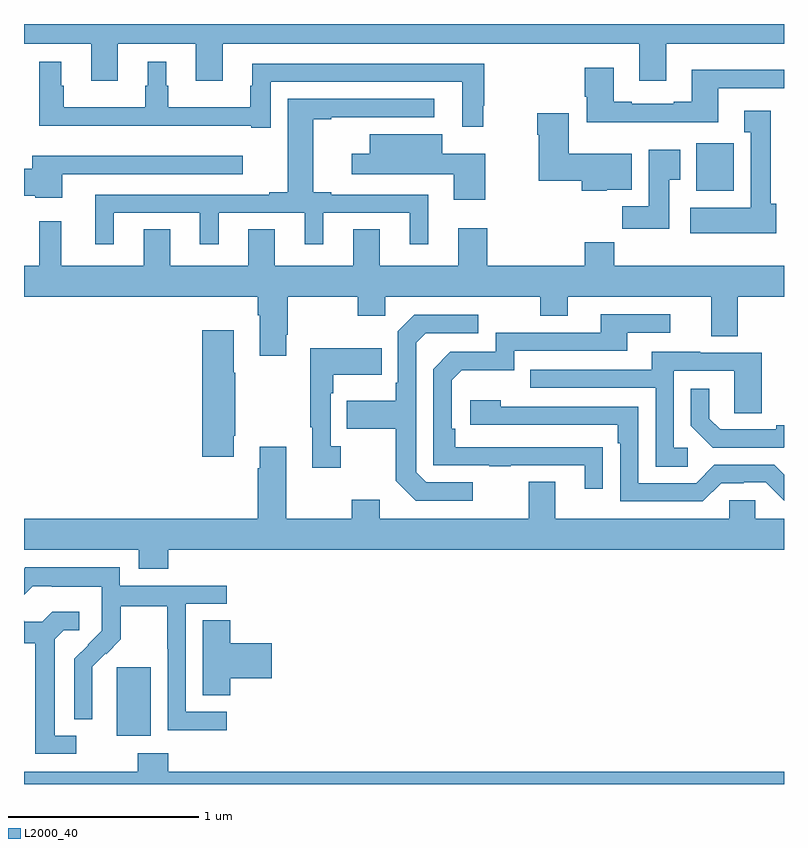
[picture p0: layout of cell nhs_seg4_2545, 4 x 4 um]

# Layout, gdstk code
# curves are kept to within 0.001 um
import gdstk
lib = gdstk.Library(unit=1e-6, precision=1e-09)
def R(c, l, rs):  # rectangles x0, y0, x1, y1
    for r in rs: c.add(gdstk.rectangle(r[:2], r[2:], *l))
def P(c, l, *ps):  # polygons
    for p in ps: c.add(gdstk.Polygon(p, *l))
L2000_40 = (2000, 40)

nhs_seg4_2545 = lib.new_cell('nhs_seg4_2545')
R(nhs_seg4_2545, L2000_40, [(243.488,817.154,243.667,817.515), (246.539,820.022,246.735,820.273)])
P(nhs_seg4_2545, L2000_40, [(243.493,820.796),(243.905,820.796),(243.905,820.602),(244.045,820.602),(244.045,820.796),(246.239,820.796),(246.239,820.602),(246.379,820.602),(246.379,820.796),(247,820.796),(247,820.9),(243,820.9),(243,820.796),(243.353,820.796),(243.353,820.602),(243.493,820.602)],
  [(244.299,820.596),(245.306,820.596),(245.306,820.359),(245.416,820.359),(245.416,820.471),(245.423,820.471),(245.423,820.692),(244.202,820.692),(244.202,820.574),(244.191,820.574),(244.191,820.462),(243.76,820.462),(243.76,820.574),(243.748,820.574),(243.748,820.702),(243.65,820.702),(243.65,820.574),(243.639,820.574),(243.639,820.462),(243.208,820.462),(243.208,820.574),(243.196,820.574),(243.196,820.702),(243.079,820.702),(243.079,820.364),(244.196,820.364),(244.196,820.353),(244.299,820.353)],
  [(246.655,820.563),(247,820.563),(247,820.66),(246.515,820.66),(246.515,820.492),(246.419,820.492),(246.419,820.479),(246.199,820.479),(246.199,820.492),(246.103,820.492),(246.103,820.669),(245.951,820.669),(245.951,820.516),(245.963,820.516),(245.963,820.382),(246.655,820.382)],
  [(243.472,819.906),(243.926,819.906),(243.926,819.741),(244.024,819.741),(244.024,819.906),(244.478,819.906),(244.478,819.741),(244.576,819.741),(244.576,819.906),(245.03,819.906),(245.03,819.741),(245.128,819.741),(245.128,820.002),(244.618,820.002),(244.618,820.015),(244.522,820.015),(244.522,820.398),(244.618,820.398),(244.618,820.41),(245.158,820.41),(245.158,820.506),(244.388,820.506),(244.388,820.015),(244.292,820.015),(244.292,820.002),(243.374,820.002),(243.374,819.741),(243.472,819.741)],
  [(246.958,819.954),(246.931,819.954),(246.931,820.444),(246.791,820.444),(246.791,820.331),(246.824,820.331),(246.824,819.934),(246.507,819.934),(246.507,819.8),(246.958,819.8)],
  [(246.066,820.028),(246.199,820.028),(246.199,820.216),(245.866,820.216),(245.866,820.429),(245.701,820.429),(245.701,820.316),(245.708,820.316),(245.708,820.076),(245.936,820.076),(245.936,820.022),(246.066,820.022)],
  [(245.428,820.216),(245.2,820.216),(245.2,820.321),(244.82,820.321),(244.82,820.216),(244.725,820.216),(244.725,820.109),(245.261,820.109),(245.261,819.975),(245.428,819.975)],
  [(246.397,820.081),(246.454,820.081),(246.454,820.237),(246.287,820.237),(246.287,819.94),(246.148,819.94),(246.148,819.822),(246.397,819.822)],
  [(243.202,820.11),(244.15,820.11),(244.15,820.207),(243.044,820.207),(243.044,820.139),(243,820.139),(243,819.997),(243.06,819.997),(243.06,819.986),(243.202,819.986)],
  [(244.381,819.265),(244.389,819.265),(244.389,819.464),(244.756,819.464),(244.756,819.365),(244.902,819.365),(244.902,819.464),(245.716,819.464),(245.716,819.365),(245.863,819.365),(245.863,819.464),(246.617,819.464),(246.617,819.256),(246.757,819.256),(246.757,819.464),(247,819.464),(247,819.628),(246.107,819.628),(246.107,819.752),(245.951,819.752),(245.951,819.628),(245.438,819.628),(245.438,819.826),(245.285,819.826),(245.285,819.628),(244.873,819.628),(244.873,819.821),(244.733,819.821),(244.733,819.628),(244.321,819.628),(244.321,819.821),(244.181,819.821),(244.181,819.628),(243.769,819.628),(243.769,819.821),(243.629,819.821),(243.629,819.628),(243.197,819.628),(243.197,819.862),(243.079,819.862),(243.079,819.628),(243,819.628),(243,819.464),(244.229,819.464),(244.229,819.368),(244.241,819.368),(244.241,819.153),(244.381,819.153)],
  [(246.047,818.672),(245.27,818.673),(245.27,818.77),(245.25,818.77),(245.25,819.024),(245.303,819.077),(245.58,819.077),(245.58,819.18),(246.175,819.18),(246.175,819.276),(246.4,819.276),(246.4,819.372),(246.035,819.372),(246.035,819.276),(245.484,819.276),(245.484,819.174),(245.244,819.174),(245.154,819.084),(245.154,818.577),(245.449,818.577),(245.449,818.572),(245.561,818.572),(245.561,818.577),(245.951,818.577),(245.951,818.454),(246.047,818.454)],
  [(245.362,818.487),(245.118,818.487),(245.064,818.541),(245.064,819.222),(245.115,819.273),(245.392,819.273),(245.392,819.369),(245.055,819.369),(244.968,819.282),(244.968,819.013),(244.956,819.013),(244.956,818.917),(244.699,818.917),(244.699,818.77),(244.956,818.77),(244.956,818.497),(245.061,818.391),(245.362,818.391)],
  [(244.105,818.734),(244.113,818.734),(244.113,819.065),(244.105,819.065),(244.105,819.289),(243.938,819.289),(243.938,818.622),(244.105,818.622)],
  [(244.666,818.678),(244.614,818.678),(244.614,818.957),(244.627,818.957),(244.627,819.053),(244.883,819.053),(244.883,819.193),(244.506,819.193),(244.506,818.777),(244.517,818.777),(244.517,818.565),(244.666,818.565)],
  [(246.493,818.67),(246.42,818.67),(246.42,819.075),(246.738,819.075),(246.738,818.851),(246.883,818.851),(246.883,819.171),(246.559,819.171),(246.559,819.175),(246.305,819.175),(246.305,819.081),(245.665,819.081),(245.665,818.985),(246.324,818.985),(246.324,818.569),(246.493,818.569)],
  [(246.998,818.673),(247,818.673),(247,818.789),(246.959,818.789),(246.959,818.766),(246.664,818.766),(246.607,818.823),(246.607,818.98),(246.51,818.98),(246.51,818.786),(246.626,818.67),(246.998,818.67)],
  [(246.669,818.484),(246.788,818.484),(246.788,818.487),(246.903,818.487),(247,818.39),(247,818.528),(246.948,818.58),(246.633,818.58),(246.537,818.484),(246.234,818.484),(246.234,818.886),(245.51,818.886),(245.51,818.92),(245.349,818.92),(245.349,818.79),(246.125,818.79),(246.125,818.693),(246.138,818.693),(246.138,818.388),(246.573,818.388)],
  [(243.758,818.132),(247,818.132),(247,818.296),(246.849,818.296),(246.849,818.394),(246.711,818.394),(246.711,818.296),(245.797,818.296),(245.797,818.491),(245.657,818.491),(245.657,818.296),(244.873,818.296),(244.873,818.395),(244.726,818.395),(244.726,818.296),(244.381,818.296),(244.381,818.674),(244.241,818.674),(244.241,818.561),(244.229,818.561),(244.229,818.296),(243,818.296),(243,818.132),(243.605,818.132),(243.605,818.033),(243.758,818.033)],
  [(244.066,817.281),(243.852,817.281),(243.852,817.848),(244.066,817.848),(244.066,817.944),(243.504,817.944),(243.504,818.041),(243.007,818.041),(243,818.034),(243,817.896),(243.045,817.941),(243.145,817.941),(243.145,817.937),(243.408,817.937),(243.408,817.803),(243.41,817.803),(243.41,817.706),(243.264,817.558),(243.264,817.24),(243.36,817.24),(243.359,817.517),(243.429,817.587),(243.432,817.584),(243.509,817.661),(243.509,817.836),(243.754,817.836),(243.754,817.612),(243.756,817.612),(243.756,817.183),(244.066,817.183)],
  [(243.274,817.155),(243.163,817.155),(243.163,817.663),(243.21,817.71),(243.292,817.71),(243.292,817.807),(243.148,817.807),(243.096,817.755),(243.002,817.755),(243.002,817.758),(243,817.758),(243,817.64),(243.059,817.64),(243.059,817.059),(243.274,817.059)],
  [(244.085,817.457),(244.303,817.457),(244.303,817.64),(244.085,817.64),(244.085,817.763),(243.941,817.763),(243.941,817.366),(244.085,817.366)],
  [(247,816.964),(243.758,816.964),(243.758,817.063),(243.598,817.063),(243.598,816.964),(243,816.964),(243,816.9),(247,816.9)])

lib.write_gds('nhs_seg4_2545.gds')
